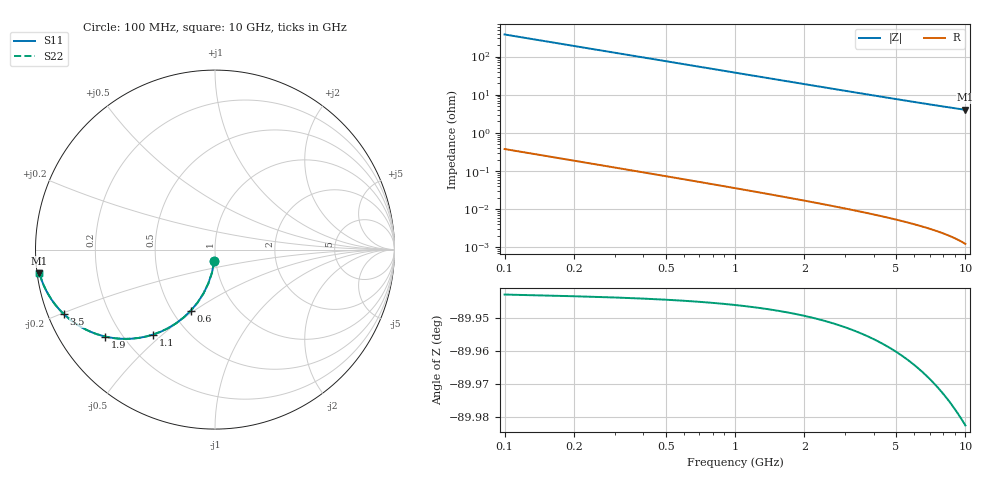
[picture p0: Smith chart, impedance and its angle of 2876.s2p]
# Hz S RI R 50.00
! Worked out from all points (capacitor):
!   100 points, 100 MHz to 10 GHz, reference 50 ohm
!   read as one part in shunt: C = 4.19 pF near 100 MHz
!   lowest |Z| = 4.03 ohm at 10 GHz (marker M1)
!   S11 on the Smith chart (normalised r, x): 100 MHz: 0.98, -0.13; 600 MHz: 0.62, -0.49; 1.1 GHz: 0.32, -0.47; 1.9 GHz: 0.14, -0.34; 3.5 GHz: 0.05, -0.20; 10 GHz: 0.01, -0.07
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1e8  -0.00427 -0.0655  0.9955 -0.0657  0.9955 -0.0657  -0.00427 -0.0655
2e8  -0.0171 -0.1293  0.9827 -0.1298  0.9827 -0.1298  -0.0171 -0.1293
3e8  -0.0377 -0.1898  0.9621 -0.1906  0.9621 -0.1906  -0.0377 -0.1898
4e8  -0.0651 -0.2458  0.9347 -0.2469  0.9347 -0.2469  -0.0651 -0.2458
5e8  -0.0981 -0.2964  0.9017 -0.2977  0.9017 -0.2977  -0.0981 -0.2964
6e8  -0.1353 -0.3409  0.8644 -0.3425  0.8644 -0.3425  -0.1353 -0.3409
8e8  -0.2176 -0.4112  0.7821 -0.4132  0.7821 -0.4132  -0.2176 -0.4112
9e8  -0.2603 -0.4372  0.7394 -0.4395  0.7394 -0.4395  -0.2603 -0.4372
1.1e9  -0.3446 -0.4733  0.6552 -0.4762  0.6552 -0.4762  -0.3446 -0.4733
1.4e9  -0.4599 -0.4961  0.5399 -0.4997  0.5399 -0.4997  -0.4599 -0.4961
1.8e9  -0.5846 -0.4899  0.4151 -0.4946  0.4151 -0.4946  -0.5846 -0.4899
1.9e9  -0.6106 -0.4846  0.3891 -0.4895  0.3891 -0.4895  -0.6106 -0.4846
2.2e9  -0.6777 -0.4639  0.322 -0.4696  0.322 -0.4696  -0.6777 -0.4639
2.6e9  -0.7461 -0.4313  0.2537 -0.438  0.2537 -0.438  -0.7461 -0.4313
3e9  -0.7965 -0.3981  0.2032 -0.4058  0.2032 -0.4058  -0.7965 -0.3981
3.4e9  -0.8342 -0.3669  0.1655 -0.3756  0.1655 -0.3756  -0.8342 -0.3669
3.5e9  -0.8421 -0.3595  0.1577 -0.3685  0.1577 -0.3685  -0.8421 -0.3595
4.2e9  -0.8849 -0.313  0.1148 -0.3238  0.1148 -0.3238  -0.8849 -0.313
5.1e9  -0.9191 -0.2652  0.0805 -0.2784  0.0805 -0.2784  -0.9191 -0.2652
6.7e9  -0.9518 -0.2045  0.0478 -0.222  0.0478 -0.222  -0.9518 -0.2045
8.4e9  -0.969 -0.161  0.0305 -0.1831  0.0305 -0.1831  -0.969 -0.161
1e10  -0.9781 -0.1314  0.0213 -0.158  0.0213 -0.158  -0.9781 -0.1314
